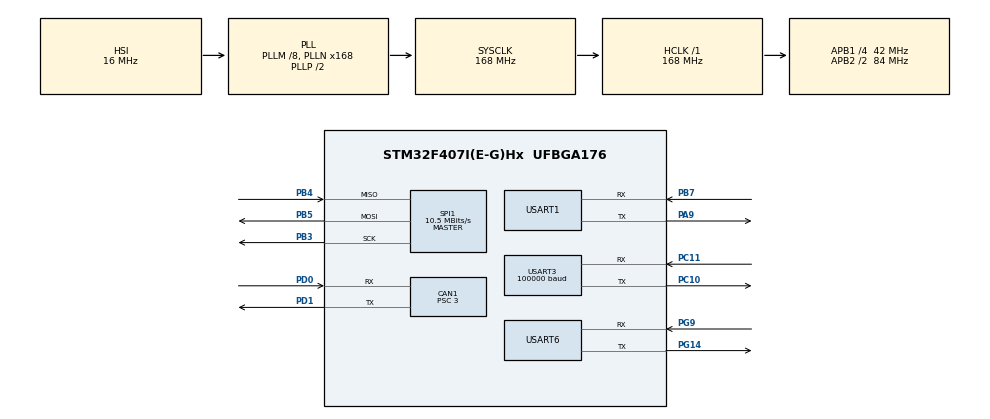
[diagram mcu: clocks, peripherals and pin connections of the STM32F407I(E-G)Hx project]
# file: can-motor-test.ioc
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CAN1.AWUM=ENABLE
CAN1.BS1=CAN_BS1_10TQ
CAN1.BS2=CAN_BS2_3TQ
CAN1.CalculateBaudRate=1000000
CAN1.CalculateTimeBit=1000
CAN1.CalculateTimeQuantum=71.42857142857143
CAN1.Prescaler=3
Dma.Request0=USART3_RX
Dma.USART3_RX.0.Direction=DMA_PERIPH_TO_MEMORY
Dma.USART3_RX.0.FIFOMode=DMA_FIFOMODE_DISABLE
Dma.USART3_RX.0.Instance=DMA1_Stream1
Dma.USART3_RX.0.MemDataAlignment=DMA_MDATAALIGN_BYTE
Dma.USART3_RX.0.MemInc=DMA_MINC_ENABLE
Dma.USART3_RX.0.Mode=DMA_CIRCULAR
Dma.USART3_RX.0.PeriphDataAlignment=DMA_PDATAALIGN_BYTE
Dma.USART3_RX.0.PeriphInc=DMA_PINC_DISABLE
Dma.USART3_RX.0.Priority=DMA_PRIORITY_HIGH
FREERTOS.Tasks01=defaultTask,24,128,StartDefaultTask,Default,NULL,Dynamic,NULL,NULL;recv_task,24,512,recv_task_fun,As weak,NULL,Dynamic,NULL,NULL;resolve_task,24,512,resolve_task_fun,As weak,NULL,Dynamic,NULL,NULL
Mcu.Family=STM32F4
Mcu.Name=STM32F407I(E-G)Hx
Mcu.Package=UFBGA176
NVIC.CAN1_RX0_IRQn=true\:5\:0\:false\:false\:true\:true\:true\:true\:true
NVIC.DMA1_Stream1_IRQn=true\:5\:0\:false\:false\:true\:true\:false\:true\:true
NVIC.PriorityGroup=NVIC_PRIORITYGROUP_4
NVIC.TIM8_UP_TIM13_IRQn=true\:15\:0\:false\:false\:true\:false\:false\:true\:true
NVIC.TimeBase=TIM8_UP_TIM13_IRQn
NVIC.TimeBaseIP=TIM8
PA13.Mode=Serial_Wire
PA13.Signal=SYS_JTMS-SWDIO
PA14.Mode=Serial_Wire
PA14.Signal=SYS_JTCK-SWCLK
PA9.Mode=Asynchronous
PA9.Signal=USART1_TX
PB3.Mode=Full_Duplex_Master
PB3.Signal=SPI1_SCK
PB4.Mode=Full_Duplex_Master
PB4.Signal=SPI1_MISO
PB5.Mode=Full_Duplex_Master
PB5.Signal=SPI1_MOSI
PB7.Mode=Asynchronous
PB7.Signal=USART1_RX
PC10.Mode=Asynchronous
PC10.Signal=USART3_TX
PC11.Mode=Asynchronous
PC11.Signal=USART3_RX
PD0.Mode=CAN_Activate
PD0.Signal=CAN1_RX
PD1.Mode=CAN_Activate
PD1.Signal=CAN1_TX
PG14.Mode=Asynchronous
PG14.Signal=USART6_TX
PG9.Mode=Asynchronous
PG9.Signal=USART6_RX
PH0-OSC_IN.Mode=HSE-External-Oscillator
PH0-OSC_IN.Signal=RCC_OSC_IN
PH1-OSC_OUT.Mode=HSE-External-Oscillator
PH1-OSC_OUT.Signal=RCC_OSC_OUT
ProjectManager.HeapSize=0x2000
ProjectManager.StackSize=0x4000
ProjectManager.TargetToolchain=CMake
RCC.48MHZClocksFreq_Value=84000000
RCC.AHBFreq_Value=168000000
RCC.APB1CLKDivider=RCC_HCLK_DIV4
RCC.APB1Freq_Value=42000000
RCC.APB1TimFreq_Value=84000000
RCC.APB2CLKDivider=RCC_HCLK_DIV2
RCC.APB2Freq_Value=84000000
RCC.APB2TimFreq_Value=168000000
RCC.CortexFreq_Value=168000000
RCC.HCLKFreq_Value=168000000
RCC.HSE_VALUE=25000000
RCC.HSI_VALUE=16000000
RCC.LSE_VALUE=32768
RCC.PLLM=8
RCC.PLLN=168
RCC.SYSCLKFreq_VALUE=168000000
RCC.SYSCLKSource=RCC_SYSCLKSOURCE_PLLCLK
RCC.VCOOutputFreq_Value=336000000
SPI1.BaudRatePrescaler=SPI_BAUDRATEPRESCALER_8
SPI1.CalculateBaudRate=10.5 MBits/s
SPI1.Direction=SPI_DIRECTION_2LINES
SPI1.Mode=SPI_MODE_MASTER
SPI1.VirtualType=VM_MASTER
USART1.VirtualMode=VM_ASYNC
USART3.BaudRate=100000
USART3.Parity=PARITY_EVEN
USART3.VirtualMode=VM_ASYNC
USART6.VirtualMode=VM_ASYNC
VP_FREERTOS_VS_CMSIS_V2.Mode=CMSIS_V2
VP_SYS_VS_tim8.Mode=TIM8
board=custom

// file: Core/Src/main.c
/* USER CODE BEGIN Header */
/**
  ******************************************************************************
  * @file           : main.c
  * @brief          : Main program body
  ******************************************************************************
  * @attention
  *
  * Copyright (c) 2026 STMicroelectronics.
  * All rights reserved.
  *
  * This software is licensed under terms that can be found in the LICENSE file
  * in the root directory of this software component.
  * If no LICENSE file comes with this software, it is provided AS-IS.
  *
  ******************************************************************************
  */
/* USER CODE END Header */
#include "main.h"
#include "cmsis_os.h"

/* USER CODE BEGIN Includes */
#include "bsp_dwt.h"
#include "bsp_dt7.h"
#include "bsp_can.h"
#include "cmsis_os2.h"
#include "stm32f4xx_hal.h"
#include "stdbool.h"
#include <stdint.h>
#include <stdio.h>
/* USER CODE END Includes */

CAN_HandleTypeDef hcan1;

SPI_HandleTypeDef hspi1;

UART_HandleTypeDef huart1;
UART_HandleTypeDef huart3;
UART_HandleTypeDef huart6;
DMA_HandleTypeDef hdma_usart3_rx;

/* Definitions for defaultTask */
osThreadId_t defaultTaskHandle;
const osThreadAttr_t defaultTask_attributes = {
  .name = "defaultTask",
  .stack_size = 128 * 4,
  .priority = (osPriority_t) osPriorityNormal,
};
/* Definitions for recv_task */
osThreadId_t recv_taskHandle;
const osThreadAttr_t recv_task_attributes = {
  .name = "recv_task",
  .stack_size = 512 * 4,
  .priority = (osPriority_t) osPriorityNormal,
};
/* Definitions for resolve_task */
osThreadId_t resolve_taskHandle;
const osThreadAttr_t resolve_task_attributes = {
  .name = "resolve_task",
  .stack_size = 512 * 4,
  .priority = (osPriority_t) osPriorityNormal,
};
/* USER CODE BEGIN PV */
// RX_DATA { MECH_ANGLE_H, MECH_ANGLE_L, SPD_H, SPD_L, TORQUE_H, TORQUE_L, TEMP, FLAG }
uint8_t rx_data[8];
int16_t current_speed = 0;
uint16_t current_angle = 0;
uint16_t current_torque = 0;
float target_angle_dbg = 0.0f;
float target_speed_dbg = 0.0f;
float target_angle_speed_ref = 0.0f;
int16_t volt[4] = {0};
/* USER CODE END PV */

void SystemClock_Config(void);
static void MX_GPIO_Init(void);
static void MX_DMA_Init(void);
static void MX_CAN1_Init(void);
static void MX_USART1_UART_Init(void);
static void MX_USART6_UART_Init(void);
static void MX_USART3_UART_Init(void);
static void MX_SPI1_Init(void);
void StartDefaultTask(void *argument);
void recv_task_fun(void *argument);
void resolve_task_fun(void *argument);

int main(void)
{

  /* MCU Configuration--------------------------------------------------------*/

  /* Reset of all peripherals, Initializes the Flash interface and the Systick. */
  HAL_Init();

  /* Configure the system clock */
  SystemClock_Config();

  /* Initialize all configured peripherals */
  MX_GPIO_Init();
  MX_DMA_Init();
  MX_CAN1_Init();
  MX_USART1_UART_Init();
  MX_USART6_UART_Init();
  MX_USART3_UART_Init();
  MX_SPI1_Init();
  /* USER CODE BEGIN 2 */
  DWT_Init(168);
  can_filter_init();
  /* USER CODE END 2 */

  /* Init scheduler */
  osKernelInitialize();

  /* Create the thread(s) */
  /* creation of defaultTask */
  defaultTaskHandle = osThreadNew(StartDefaultTask, NULL, &defaultTask_attributes);

  /* creation of recv_task */
  recv_taskHandle = osThreadNew(recv_task_fun, NULL, &recv_task_attributes);

  /* creation of resolve_task */
  resolve_taskHandle = osThreadNew(resolve_task_fun, NULL, &resolve_task_attributes);

  /* Start scheduler */
  osKernelStart();

  /* We should never get here as control is now taken by the scheduler */

  /* Infinite loop */
  while (1)
  {

  }
}

void SystemClock_Config(void)
{
  RCC_OscInitTypeDef RCC_OscInitStruct = {0};
  RCC_ClkInitTypeDef RCC_ClkInitStruct = {0};

  /** Configure the main internal regulator output voltage
  */
  __HAL_RCC_PWR_CLK_ENABLE();
  __HAL_PWR_VOLTAGESCALING_CONFIG(PWR_REGULATOR_VOLTAGE_SCALE1);

  /** Initializes the RCC Oscillators according to the specified parameters
  * in the RCC_OscInitTypeDef structure.
  */
  RCC_OscInitStruct.OscillatorType = RCC_OSCILLATORTYPE_HSI;
  RCC_OscInitStruct.HSIState = RCC_HSI_ON;
  RCC_OscInitStruct.HSICalibrationValue = RCC_HSICALIBRATION_DEFAULT;
  RCC_OscInitStruct.PLL.PLLState = RCC_PLL_ON;
  RCC_OscInitStruct.PLL.PLLSource = RCC_PLLSOURCE_HSI;
  RCC_OscInitStruct.PLL.PLLM = 8;
  RCC_OscInitStruct.PLL.PLLN = 168;
  RCC_OscInitStruct.PLL.PLLP = RCC_PLLP_DIV2;
  RCC_OscInitStruct.PLL.PLLQ = 4;
  if (HAL_RCC_OscConfig(&RCC_OscInitStruct) != HAL_OK)
  {
    Error_Handler();
  }

  /** Initializes the CPU, AHB and APB buses clocks
  */
  RCC_ClkInitStruct.ClockType = RCC_CLOCKTYPE_HCLK|RCC_CLOCKTYPE_SYSCLK
                              |RCC_CLOCKTYPE_PCLK1|RCC_CLOCKTYPE_PCLK2;
  RCC_ClkInitStruct.SYSCLKSource = RCC_SYSCLKSOURCE_PLLCLK;
  RCC_ClkInitStruct.AHBCLKDivider = RCC_SYSCLK_DIV1;
  RCC_ClkInitStruct.APB1CLKDivider = RCC_HCLK_DIV4;
  RCC_ClkInitStruct.APB2CLKDivider = RCC_HCLK_DIV2;

  if (HAL_RCC_ClockConfig(&RCC_ClkInitStruct, FLASH_LATENCY_5) != HAL_OK)
  {
    Error_Handler();
  }
}

static void MX_CAN1_Init(void)
{

  hcan1.Instance = CAN1;
  hcan1.Init.Prescaler = 3;
  hcan1.Init.Mode = CAN_MODE_NORMAL;
  hcan1.Init.SyncJumpWidth = CAN_SJW_1TQ;
  hcan1.Init.TimeSeg1 = CAN_BS1_10TQ;
  hcan1.Init.TimeSeg2 = CAN_BS2_3TQ;
  hcan1.Init.TimeTriggeredMode = DISABLE;
  hcan1.Init.AutoBusOff = DISABLE;
  hcan1.Init.AutoWakeUp = ENABLE;
  hcan1.Init.AutoRetransmission = DISABLE;
  hcan1.Init.ReceiveFifoLocked = DISABLE;
  hcan1.Init.TransmitFifoPriority = DISABLE;
  if (HAL_CAN_Init(&hcan1) != HAL_OK)
  {
    Error_Handler();
  }

}

static void MX_SPI1_Init(void)
{

  /* SPI1 parameter configuration*/
  hspi1.Instance = SPI1;
  hspi1.Init.Mode = SPI_MODE_MASTER;
  hspi1.Init.Direction = SPI_DIRECTION_2LINES;
  hspi1.Init.DataSize = SPI_DATASIZE_8BIT;
  hspi1.Init.CLKPolarity = SPI_POLARITY_LOW;
  hspi1.Init.CLKPhase = SPI_PHASE_1EDGE;
  hspi1.Init.NSS = SPI_NSS_SOFT;
  hspi1.Init.BaudRatePrescaler = SPI_BAUDRATEPRESCALER_8;
  hspi1.Init.FirstBit = SPI_FIRSTBIT_MSB;
  hspi1.Init.TIMode = SPI_TIMODE_DISABLE;
  hspi1.Init.CRCCalculation = SPI_CRCCALCULATION_DISABLE;
  hspi1.Init.CRCPolynomial = 10;
  if (HAL_SPI_Init(&hspi1) != HAL_OK)
  {
    Error_Handler();
  }

}

static void MX_USART1_UART_Init(void)
{

  huart1.Instance = USART1;
  huart1.Init.BaudRate = 115200;
  huart1.Init.WordLength = UART_WORDLENGTH_8B;
  huart1.Init.StopBits = UART_STOPBITS_1;
  huart1.Init.Parity = UART_PARITY_NONE;
  huart1.Init.Mode = UART_MODE_TX_RX;
  huart1.Init.HwFlowCtl = UART_HWCONTROL_NONE;
  huart1.Init.OverSampling = UART_OVERSAMPLING_16;
  if (HAL_UART_Init(&huart1) != HAL_OK)
  {
    Error_Handler();
  }

}

static void MX_USART3_UART_Init(void)
{

  huart3.Instance = USART3;
  huart3.Init.BaudRate = 100000;
  huart3.Init.WordLength = UART_WORDLENGTH_8B;
  huart3.Init.StopBits = UART_STOPBITS_1;
  huart3.Init.Parity = UART_PARITY_EVEN;
  huart3.Init.Mode = UART_MODE_TX_RX;
  huart3.Init.HwFlowCtl = UART_HWCONTROL_NONE;
  huart3.Init.OverSampling = UART_OVERSAMPLING_16;
  if (HAL_UART_Init(&huart3) != HAL_OK)
  {
    Error_Handler();
  }

}

static void MX_USART6_UART_Init(void)
{

  huart6.Instance = USART6;
  huart6.Init.BaudRate = 115200;
  huart6.Init.WordLength = UART_WORDLENGTH_8B;
  huart6.Init.StopBits = UART_STOPBITS_1;
  huart6.Init.Parity = UART_PARITY_NONE;
  huart6.Init.Mode = UART_MODE_TX_RX;
  huart6.Init.HwFlowCtl = UART_HWCONTROL_NONE;
  huart6.Init.OverSampling = UART_OVERSAMPLING_16;
  if (HAL_UART_Init(&huart6) != HAL_OK)
  {
    Error_Handler();
  }

}

static void MX_DMA_Init(void)
{

  /* DMA controller clock enable */
  __HAL_RCC_DMA1_CLK_ENABLE();

  /* DMA interrupt init */
  /* DMA1_Stream1_IRQn interrupt configuration */
  HAL_NVIC_SetPriority(DMA1_Stream1_IRQn, 5, 0);
  HAL_NVIC_EnableIRQ(DMA1_Stream1_IRQn);

}

static void MX_GPIO_Init(void)
{

  /* GPIO Ports Clock Enable */
  __HAL_RCC_GPIOB_CLK_ENABLE();
  __HAL_RCC_GPIOG_CLK_ENABLE();
  __HAL_RCC_GPIOA_CLK_ENABLE();
  __HAL_RCC_GPIOD_CLK_ENABLE();
  __HAL_RCC_GPIOC_CLK_ENABLE();
  __HAL_RCC_GPIOH_CLK_ENABLE();

}

void StartDefaultTask(void *argument)
{
  for(;;)
  {
    osDelay(1);
  }
}

__weak void recv_task_fun(void *argument)
{
  for(;;)
  {
    osDelay(1);
  }
}

__weak void resolve_task_fun(void *argument)
{
  for(;;)
  {
    osDelay(1);
  }
}

void HAL_TIM_PeriodElapsedCallback(TIM_HandleTypeDef *htim)
{
  if (htim->Instance == TIM8)
  {
    HAL_IncTick();
  }
}

void Error_Handler(void)
{
  __disable_irq();
  while (1)
  {
  }
}
